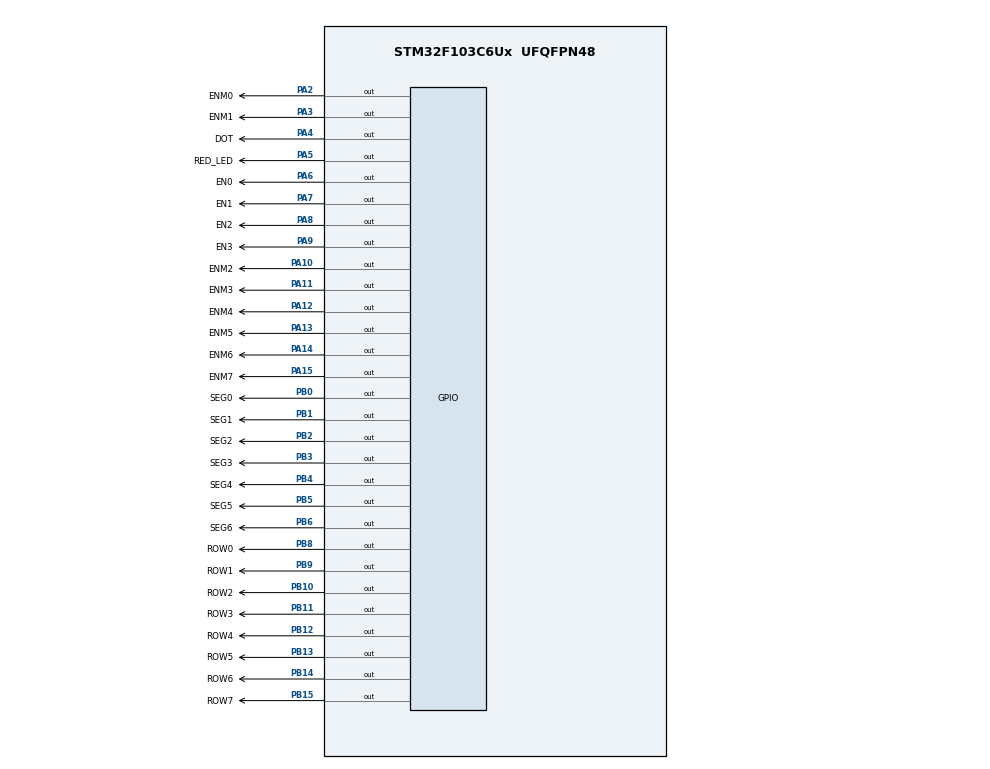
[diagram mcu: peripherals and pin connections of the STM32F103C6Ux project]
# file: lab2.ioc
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Mcu.Family=STM32F1
Mcu.Name=STM32F103C6Ux
Mcu.Package=UFQFPN48
NVIC.PriorityGroup=NVIC_PRIORITYGROUP_4
NVIC.TIM2_IRQn=true\:0\:0\:false\:false\:true\:true\:true
PA10.GPIO_Label=ENM2
PA10.Signal=GPIO_Output
PA11.GPIO_Label=ENM3
PA11.Signal=GPIO_Output
PA12.GPIO_Label=ENM4
PA12.Signal=GPIO_Output
PA13.GPIO_Label=ENM5
PA13.Signal=GPIO_Output
PA14.GPIO_Label=ENM6
PA14.Signal=GPIO_Output
PA15.GPIO_Label=ENM7
PA15.Signal=GPIO_Output
PA2.GPIO_Label=ENM0
PA2.Signal=GPIO_Output
PA3.GPIO_Label=ENM1
PA3.Signal=GPIO_Output
PA4.GPIO_Label=DOT
PA4.Signal=GPIO_Output
PA5.GPIO_Label=RED_LED
PA5.Signal=GPIO_Output
PA6.GPIO_Label=EN0
PA6.Signal=GPIO_Output
PA7.GPIO_Label=EN1
PA7.Signal=GPIO_Output
PA8.GPIO_Label=EN2
PA8.Signal=GPIO_Output
PA9.GPIO_Label=EN3
PA9.Signal=GPIO_Output
PB0.GPIO_Label=SEG0
PB0.Signal=GPIO_Output
PB1.GPIO_Label=SEG1
PB1.Signal=GPIO_Output
PB10.GPIO_Label=ROW2
PB10.Signal=GPIO_Output
PB11.GPIO_Label=ROW3
PB11.Signal=GPIO_Output
PB12.GPIO_Label=ROW4
PB12.Signal=GPIO_Output
PB13.GPIO_Label=ROW5
PB13.Signal=GPIO_Output
PB14.GPIO_Label=ROW6
PB14.Signal=GPIO_Output
PB15.GPIO_Label=ROW7
PB15.Signal=GPIO_Output
PB2.GPIO_Label=SEG2
PB2.Signal=GPIO_Output
PB3.GPIO_Label=SEG3
PB3.Signal=GPIO_Output
PB4.GPIO_Label=SEG4
PB4.Signal=GPIO_Output
PB5.GPIO_Label=SEG5
PB5.Signal=GPIO_Output
PB6.GPIO_Label=SEG6
PB6.Signal=GPIO_Output
PB8.GPIO_Label=ROW0
PB8.Signal=GPIO_Output
PB9.GPIO_Label=ROW1
PB9.Signal=GPIO_Output
ProjectManager.HeapSize=0x200
ProjectManager.StackSize=0x400
ProjectManager.TargetToolchain=STM32CubeIDE
RCC.APB1Freq_Value=8000000
RCC.APB2Freq_Value=8000000
TIM2.Period=9
TIM2.Prescaler=7999
VP_SYS_VS_ND.Mode=No_Debug
VP_TIM2_VS_ClockSourceINT.Mode=Internal
board=custom

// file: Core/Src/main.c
/* USER CODE BEGIN Header */
/**
  ******************************************************************************
  * @file           : main.c
  * @brief          : Main program body
  ******************************************************************************
  * @attention
  *
  * <h2><center>&copy; Copyright (c) 2025 STMicroelectronics.
  * All rights reserved.</center></h2>
  *
  * This software component is licensed by ST under BSD 3-Clause license,
  * the "License"; You may not use this file except in compliance with the
  * License. You may obtain a copy of the License at:
  *                        opensource.org/licenses/BSD-3-Clause
  *
  ******************************************************************************
  */
/* USER CODE END Header */
#include "main.h"

TIM_HandleTypeDef htim2;

void SystemClock_Config(void);
static void MX_GPIO_Init(void);
static void MX_TIM2_Init(void);

/* USER CODE BEGIN 0 */
int timer0_counter = 0;
int timer0_flag = 0;
int timer1_counter = 0;
int timer1_flag = 0;
int TIMER_CYCLE = 10;
void setTimer0(int duration)
{
	timer0_counter = duration/TIMER_CYCLE;
	timer0_flag = 0;
}
void setTimer1(int duration)
{
	timer1_counter = duration/TIMER_CYCLE;
	timer1_flag = 0;
}
void timer_run()
{
	if (timer0_counter > 0)
		{
			timer0_counter--;
			if(timer0_counter == 0)
				timer0_flag = 1;
		}
	if (timer1_counter > 0)
		{
			timer1_counter--;
			if(timer1_counter == 0)
				timer1_flag = 1;
		}
}
/* USER CODE END 0 */

void update7SEG(int index)
{
	switch(index){
	case 0:
    	HAL_GPIO_WritePin(GPIOA, GPIO_PIN_6, GPIO_PIN_RESET);
    	HAL_GPIO_WritePin(GPIOA, GPIO_PIN_7, GPIO_PIN_SET);
    	HAL_GPIO_WritePin(GPIOA, GPIO_PIN_8, GPIO_PIN_SET);
    	HAL_GPIO_WritePin(GPIOA, GPIO_PIN_9, GPIO_PIN_SET);
    	break;
	case 1:
    	HAL_GPIO_WritePin(GPIOA, GPIO_PIN_6, GPIO_PIN_SET);
    	HAL_GPIO_WritePin(GPIOA, GPIO_PIN_7, GPIO_PIN_RESET);
    	HAL_GPIO_WritePin(GPIOA, GPIO_PIN_8, GPIO_PIN_SET);
    	HAL_GPIO_WritePin(GPIOA, GPIO_PIN_9, GPIO_PIN_SET);
    	break;
	case 2:
    	HAL_GPIO_WritePin(GPIOA, GPIO_PIN_6, GPIO_PIN_SET);
    	HAL_GPIO_WritePin(GPIOA, GPIO_PIN_7, GPIO_PIN_SET);
    	HAL_GPIO_WritePin(GPIOA, GPIO_PIN_8, GPIO_PIN_RESET);
    	HAL_GPIO_WritePin(GPIOA, GPIO_PIN_9, GPIO_PIN_SET);
    	break;
	case 3:
    	HAL_GPIO_WritePin(GPIOA, GPIO_PIN_6, GPIO_PIN_SET);
    	HAL_GPIO_WritePin(GPIOA, GPIO_PIN_7, GPIO_PIN_SET);
    	HAL_GPIO_WritePin(GPIOA, GPIO_PIN_8, GPIO_PIN_SET);
    	HAL_GPIO_WritePin(GPIOA, GPIO_PIN_9, GPIO_PIN_RESET);
    	break;
    default:
    	break;
	}
}

void displayLed(int num)
{
	if (num == 1)
	{
	    HAL_GPIO_WritePin(SEG0_GPIO_Port, SEG0_Pin, GPIO_PIN_SET);
	    HAL_GPIO_WritePin(SEG1_GPIO_Port, SEG1_Pin, GPIO_PIN_RESET);
	    HAL_GPIO_WritePin(SEG2_GPIO_Port, SEG2_Pin, GPIO_PIN_RESET);
	    HAL_GPIO_WritePin(SEG3_GPIO_Port, SEG3_Pin, GPIO_PIN_SET);
	    HAL_GPIO_WritePin(SEG4_GPIO_Port, SEG4_Pin, GPIO_PIN_SET);
	    HAL_GPIO_WritePin(SEG5_GPIO_Port, SEG5_Pin, GPIO_PIN_SET);
	    HAL_GPIO_WritePin(SEG6_GPIO_Port, SEG6_Pin, GPIO_PIN_SET);
	    return;
	}

	if (num == 2)
	{
	    HAL_GPIO_WritePin(SEG0_GPIO_Port, SEG0_Pin, GPIO_PIN_RESET);
	    HAL_GPIO_WritePin(SEG1_GPIO_Port, SEG1_Pin, GPIO_PIN_RESET);
	    HAL_GPIO_WritePin(SEG2_GPIO_Port, SEG2_Pin, GPIO_PIN_SET);
	    HAL_GPIO_WritePin(SEG3_GPIO_Port, SEG3_Pin, GPIO_PIN_RESET);
	    HAL_GPIO_WritePin(SEG4_GPIO_Port, SEG4_Pin, GPIO_PIN_RESET);
	    HAL_GPIO_WritePin(SEG5_GPIO_Port, SEG5_Pin, GPIO_PIN_SET);
	    HAL_GPIO_WritePin(SEG6_GPIO_Port, SEG6_Pin, GPIO_PIN_RESET);
	    return;
	}
	if (num == 3)
	{
	    HAL_GPIO_WritePin(SEG0_GPIO_Port, SEG0_Pin, GPIO_PIN_RESET);
	    HAL_GPIO_WritePin(SEG1_GPIO_Port, SEG1_Pin, GPIO_PIN_RESET);
	    HAL_GPIO_WritePin(SEG2_GPIO_Port, SEG2_Pin, GPIO_PIN_RESET);
	    HAL_GPIO_WritePin(SEG3_GPIO_Port, SEG3_Pin, GPIO_PIN_RESET);
	    HAL_GPIO_WritePin(SEG4_GPIO_Port, SEG4_Pin, GPIO_PIN_SET);
	    HAL_GPIO_WritePin(SEG5_GPIO_Port, SEG5_Pin, GPIO_PIN_SET);
	    HAL_GPIO_WritePin(SEG6_GPIO_Port, SEG6_Pin, GPIO_PIN_RESET);
	    return;
	}

	if (num == 0)
	{
	    HAL_GPIO_WritePin(SEG0_GPIO_Port, SEG0_Pin, GPIO_PIN_RESET);
	    HAL_GPIO_WritePin(SEG1_GPIO_Port, SEG1_Pin, GPIO_PIN_RESET);
	    HAL_GPIO_WritePin(SEG2_GPIO_Port, SEG2_Pin, GPIO_PIN_RESET);
	    HAL_GPIO_WritePin(SEG3_GPIO_Port, SEG3_Pin, GPIO_PIN_RESET);
	    HAL_GPIO_WritePin(SEG4_GPIO_Port, SEG4_Pin, GPIO_PIN_RESET);
	    HAL_GPIO_WritePin(SEG5_GPIO_Port, SEG5_Pin, GPIO_PIN_RESET);
	    HAL_GPIO_WritePin(SEG6_GPIO_Port, SEG6_Pin, GPIO_PIN_SET);
	    return;
	}
	if (num == 4)
	{
	    HAL_GPIO_WritePin(SEG0_GPIO_Port, SEG0_Pin, GPIO_PIN_SET);
	    HAL_GPIO_WritePin(SEG1_GPIO_Port, SEG1_Pin, GPIO_PIN_RESET);
	    HAL_GPIO_WritePin(SEG2_GPIO_Port, SEG2_Pin, GPIO_PIN_RESET);
	    HAL_GPIO_WritePin(SEG3_GPIO_Port, SEG3_Pin, GPIO_PIN_SET);
	    HAL_GPIO_WritePin(SEG4_GPIO_Port, SEG4_Pin, GPIO_PIN_SET);
	    HAL_GPIO_WritePin(SEG5_GPIO_Port, SEG5_Pin, GPIO_PIN_RESET);
	    HAL_GPIO_WritePin(SEG6_GPIO_Port, SEG6_Pin, GPIO_PIN_RESET);
	    return;
	}

	if (num == 5)
	{
	    HAL_GPIO_WritePin(SEG0_GPIO_Port, SEG0_Pin, GPIO_PIN_RESET);
	    HAL_GPIO_WritePin(SEG1_GPIO_Port, SEG1_Pin, GPIO_PIN_SET);
	    HAL_GPIO_WritePin(SEG2_GPIO_Port, SEG2_Pin, GPIO_PIN_RESET);
	    HAL_GPIO_WritePin(SEG3_GPIO_Port, SEG3_Pin, GPIO_PIN_RESET);
	    HAL_GPIO_WritePin(SEG4_GPIO_Port, SEG4_Pin, GPIO_PIN_SET);
	    HAL_GPIO_WritePin(SEG5_GPIO_Port, SEG5_Pin, GPIO_PIN_RESET);
	    HAL_GPIO_WritePin(SEG6_GPIO_Port, SEG6_Pin, GPIO_PIN_RESET);
	    return;
	}

	if (num == 6)
	{
	    HAL_GPIO_WritePin(SEG0_GPIO_Port, SEG0_Pin, GPIO_PIN_RESET);
	    HAL_GPIO_WritePin(SEG1_GPIO_Port, SEG1_Pin, GPIO_PIN_SET);
	    HAL_GPIO_WritePin(SEG2_GPIO_Port, SEG2_Pin, GPIO_PIN_RESET);
	    HAL_GPIO_WritePin(SEG3_GPIO_Port, SEG3_Pin, GPIO_PIN_RESET);
	    HAL_GPIO_WritePin(SEG4_GPIO_Port, SEG4_Pin, GPIO_PIN_RESET);
	    HAL_GPIO_WritePin(SEG5_GPIO_Port, SEG5_Pin, GPIO_PIN_RESET);
	    HAL_GPIO_WritePin(SEG6_GPIO_Port, SEG6_Pin, GPIO_PIN_RESET);
	    return;
	}

	if (num == 7)
	{
	    HAL_GPIO_WritePin(SEG0_GPIO_Port, SEG0_Pin, GPIO_PIN_RESET);
	    HAL_GPIO_WritePin(SEG1_GPIO_Port, SEG1_Pin, GPIO_PIN_RESET);
	    HAL_GPIO_WritePin(SEG2_GPIO_Port, SEG2_Pin, GPIO_PIN_RESET);
	    HAL_GPIO_WritePin(SEG3_GPIO_Port, SEG3_Pin, GPIO_PIN_SET);
	    HAL_GPIO_WritePin(SEG4_GPIO_Port, SEG4_Pin, GPIO_PIN_SET);
	    HAL_GPIO_WritePin(SEG5_GPIO_Port, SEG5_Pin, GPIO_PIN_SET);
	    HAL_GPIO_WritePin(SEG6_GPIO_Port, SEG6_Pin, GPIO_PIN_SET);
	    return;
	}

	if (num == 8)
	{
	    HAL_GPIO_WritePin(SEG0_GPIO_Port, SEG0_Pin, GPIO_PIN_RESET);
	    HAL_GPIO_WritePin(SEG1_GPIO_Port, SEG1_Pin, GPIO_PIN_RESET);
	    HAL_GPIO_WritePin(SEG2_GPIO_Port, SEG2_Pin, GPIO_PIN_RESET);
	    HAL_GPIO_WritePin(SEG3_GPIO_Port, SEG3_Pin, GPIO_PIN_RESET);
	    HAL_GPIO_WritePin(SEG4_GPIO_Port, SEG4_Pin, GPIO_PIN_RESET);
	    HAL_GPIO_WritePin(SEG5_GPIO_Port, SEG5_Pin, GPIO_PIN_RESET);
	    HAL_GPIO_WritePin(SEG6_GPIO_Port, SEG6_Pin, GPIO_PIN_RESET);
	    return;
	}

	if (num == 9)
	{
	    HAL_GPIO_WritePin(SEG0_GPIO_Port, SEG0_Pin, GPIO_PIN_RESET);
	    HAL_GPIO_WritePin(SEG1_GPIO_Port, SEG1_Pin, GPIO_PIN_RESET);
	    HAL_GPIO_WritePin(SEG2_GPIO_Port, SEG2_Pin, GPIO_PIN_RESET);
	    HAL_GPIO_WritePin(SEG3_GPIO_Port, SEG3_Pin, GPIO_PIN_RESET);
	    HAL_GPIO_WritePin(SEG4_GPIO_Port, SEG4_Pin, GPIO_PIN_SET);
	    HAL_GPIO_WritePin(SEG5_GPIO_Port, SEG5_Pin, GPIO_PIN_RESET);
	    HAL_GPIO_WritePin(SEG6_GPIO_Port, SEG6_Pin, GPIO_PIN_RESET);
	    return;
	}
}

int numToDisplay[4]={0, 0, 0, 0};
void updateClockBuffer(int a, int b)
{
	numToDisplay[0]=a/10;
	numToDisplay[1]=a%10;
	numToDisplay[2]=b/10;
	numToDisplay[3]=b%10;
}

void HAL_TIM_PeriodElapsedCallback(TIM_HandleTypeDef *htim)
{
	timer_run();
}

int main(void)
{

  /* MCU Configuration--------------------------------------------------------*/

  /* Reset of all peripherals, Initializes the Flash interface and the Systick. */
  HAL_Init();

  /* Configure the system clock */
  SystemClock_Config();

  /* Initialize all configured peripherals */
  MX_GPIO_Init();
  MX_TIM2_Init();
  /* USER CODE BEGIN 2 */
  HAL_TIM_Base_Start_IT (& htim2 );
  /* USER CODE END 2 */

  /* Infinite loop */
  /* USER CODE BEGIN WHILE */
  int hour=15;
  int minute=8;
  int second=50;
  updateClockBuffer(hour, minute);
  int index_led = 0;
  setTimer0(1000);
  setTimer1(250);
  while (1)
  {
    /* USER CODE END WHILE */
	  if (timer0_flag == 1)
	  {
		  setTimer0(1000);
		  second++;
		  if(second>=60)
		  {
			  second=0;
			  minute++;
		  }
		  if(minute>=60)
		  {
			  minute=0;
			  hour++;
		  }
		  if (hour>=24)
		  {
			  hour=0;
		  }
		  updateClockBuffer(hour, minute);
		  HAL_GPIO_TogglePin (RED_LED_GPIO_Port, RED_LED_Pin );
		  HAL_GPIO_TogglePin(GPIOA, GPIO_PIN_4);
	  }
	  if (timer1_flag==1)
	  {
		  setTimer1(250);

		  displayLed(numToDisplay[index_led]);
		  update7SEG(index_led);
		  index_led++;
		  if(index_led>3)
		  {
			  index_led=0;
		  }
	  }
  }
}

void SystemClock_Config(void)
{
  RCC_OscInitTypeDef RCC_OscInitStruct = {0};
  RCC_ClkInitTypeDef RCC_ClkInitStruct = {0};

  /** Initializes the RCC Oscillators according to the specified parameters
  * in the RCC_OscInitTypeDef structure.
  */
  RCC_OscInitStruct.OscillatorType = RCC_OSCILLATORTYPE_HSI;
  RCC_OscInitStruct.HSIState = RCC_HSI_ON;
  RCC_OscInitStruct.HSICalibrationValue = RCC_HSICALIBRATION_DEFAULT;
  RCC_OscInitStruct.PLL.PLLState = RCC_PLL_NONE;
  if (HAL_RCC_OscConfig(&RCC_OscInitStruct) != HAL_OK)
  {
    Error_Handler();
  }
  /** Initializes the CPU, AHB and APB buses clocks
  */
  RCC_ClkInitStruct.ClockType = RCC_CLOCKTYPE_HCLK|RCC_CLOCKTYPE_SYSCLK
                              |RCC_CLOCKTYPE_PCLK1|RCC_CLOCKTYPE_PCLK2;
  RCC_ClkInitStruct.SYSCLKSource = RCC_SYSCLKSOURCE_HSI;
  RCC_ClkInitStruct.AHBCLKDivider = RCC_SYSCLK_DIV1;
  RCC_ClkInitStruct.APB1CLKDivider = RCC_HCLK_DIV1;
  RCC_ClkInitStruct.APB2CLKDivider = RCC_HCLK_DIV1;

  if (HAL_RCC_ClockConfig(&RCC_ClkInitStruct, FLASH_LATENCY_0) != HAL_OK)
  {
    Error_Handler();
  }
}

static void MX_TIM2_Init(void)
{

  TIM_ClockConfigTypeDef sClockSourceConfig = {0};
  TIM_MasterConfigTypeDef sMasterConfig = {0};

  htim2.Instance = TIM2;
  htim2.Init.Prescaler = 7999;
  htim2.Init.CounterMode = TIM_COUNTERMODE_UP;
  htim2.Init.Period = 9;
  htim2.Init.ClockDivision = TIM_CLOCKDIVISION_DIV1;
  htim2.Init.AutoReloadPreload = TIM_AUTORELOAD_PRELOAD_DISABLE;
  if (HAL_TIM_Base_Init(&htim2) != HAL_OK)
  {
    Error_Handler();
  }
  sClockSourceConfig.ClockSource = TIM_CLOCKSOURCE_INTERNAL;
  if (HAL_TIM_ConfigClockSource(&htim2, &sClockSourceConfig) != HAL_OK)
  {
    Error_Handler();
  }
  sMasterConfig.MasterOutputTrigger = TIM_TRGO_RESET;
  sMasterConfig.MasterSlaveMode = TIM_MASTERSLAVEMODE_DISABLE;
  if (HAL_TIMEx_MasterConfigSynchronization(&htim2, &sMasterConfig) != HAL_OK)
  {
    Error_Handler();
  }

}

static void MX_GPIO_Init(void)
{
  GPIO_InitTypeDef GPIO_InitStruct = {0};

  /* GPIO Ports Clock Enable */
  __HAL_RCC_GPIOA_CLK_ENABLE();
  __HAL_RCC_GPIOB_CLK_ENABLE();

  /*Configure GPIO pin Output Level */
  HAL_GPIO_WritePin(GPIOA, DOT_Pin|RED_LED_Pin|EN0_Pin|EN1_Pin
                          |EN2_Pin|EN3_Pin, GPIO_PIN_RESET);

  /*Configure GPIO pin Output Level */
  HAL_GPIO_WritePin(GPIOB, SEG0_Pin|SEG1_Pin|SEG2_Pin|SEG3_Pin
                          |SEG4_Pin|SEG5_Pin|SEG6_Pin, GPIO_PIN_RESET);

  /*Configure GPIO pins : DOT_Pin RED_LED_Pin EN0_Pin EN1_Pin
                           EN2_Pin EN3_Pin */
  GPIO_InitStruct.Pin = DOT_Pin|RED_LED_Pin|EN0_Pin|EN1_Pin
                          |EN2_Pin|EN3_Pin;
  GPIO_InitStruct.Mode = GPIO_MODE_OUTPUT_PP;
  GPIO_InitStruct.Pull = GPIO_NOPULL;
  GPIO_InitStruct.Speed = GPIO_SPEED_FREQ_LOW;
  HAL_GPIO_Init(GPIOA, &GPIO_InitStruct);

  /*Configure GPIO pins : SEG0_Pin SEG1_Pin SEG2_Pin SEG3_Pin
                           SEG4_Pin SEG5_Pin SEG6_Pin */
  GPIO_InitStruct.Pin = SEG0_Pin|SEG1_Pin|SEG2_Pin|SEG3_Pin
                          |SEG4_Pin|SEG5_Pin|SEG6_Pin;
  GPIO_InitStruct.Mode = GPIO_MODE_OUTPUT_PP;
  GPIO_InitStruct.Pull = GPIO_NOPULL;
  GPIO_InitStruct.Speed = GPIO_SPEED_FREQ_LOW;
  HAL_GPIO_Init(GPIOB, &GPIO_InitStruct);

}

void Error_Handler(void)
{
  __disable_irq();
  while (1)
  {
  }
}

/************************ (C) COPYRIGHT STMicroelectronics *****END OF FILE****/
